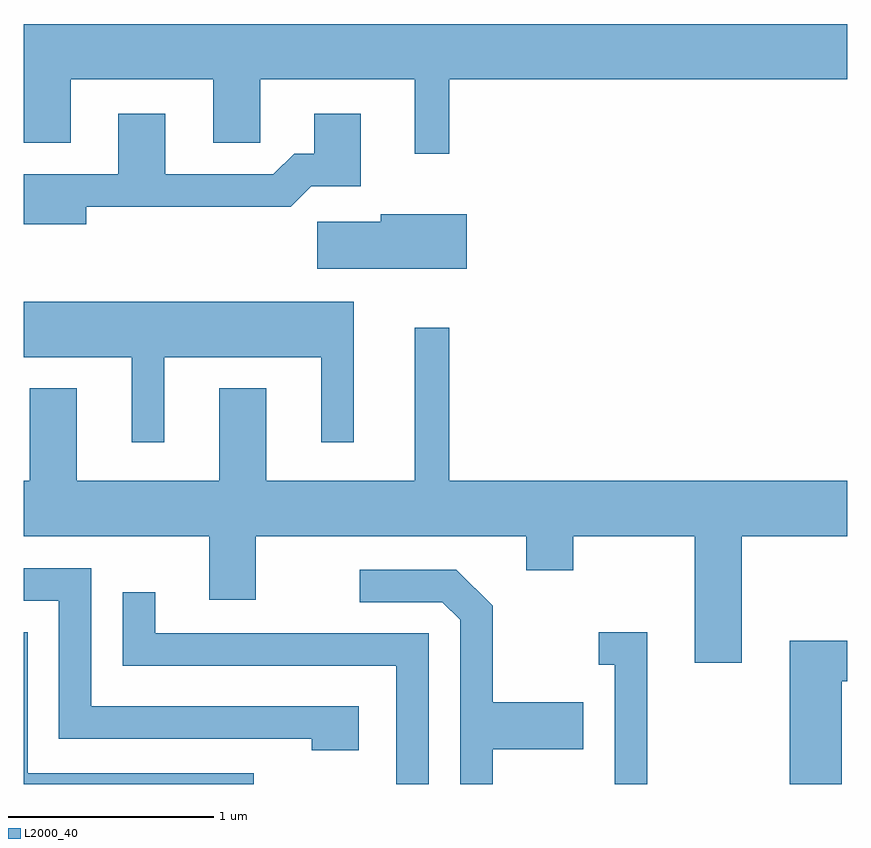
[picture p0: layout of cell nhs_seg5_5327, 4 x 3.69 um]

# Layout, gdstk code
import gdstk
lib = gdstk.Library(unit=1e-6, precision=1e-09)
def P(c, l, *ps):  # polygons
    for p in ps: c.add(gdstk.Polygon(p, *l))
L2000_40 = (2000, 40)

nhs_seg5_5327 = lib.new_cell('nhs_seg5_5327')
P(nhs_seg5_5327, L2000_40, [(345.679,1423.496),(347.611,1423.496),(347.611,1423.764),(343.611,1423.764),(343.611,1423.186),(343.839,1423.186),(343.839,1423.496),(344.531,1423.496),(344.531,1423.186),(344.759,1423.186),(344.759,1423.496),(345.511,1423.496),(345.511,1423.133),(345.679,1423.133)],
  [(343.914,1422.876),(344.907,1422.876),(345.007,1422.976),(345.249,1422.976),(345.249,1423.329),(345.021,1423.329),(345.021,1423.134),(344.924,1423.134),(344.824,1423.034),(344.299,1423.034),(344.299,1423.329),(344.071,1423.329),(344.071,1423.034),(343.611,1423.034),(343.611,1422.791),(343.914,1422.791)],
  [(345.764,1422.839),(345.346,1422.839),(345.346,1422.804),(345.036,1422.804),(345.036,1422.576),(345.764,1422.576)],
  [(344.294,1422.146),(345.056,1422.146),(345.056,1421.733),(345.214,1421.733),(345.214,1422.414),(343.611,1422.414),(343.611,1422.146),(344.136,1422.146),(344.136,1421.733),(344.294,1421.733)],
  [(347.099,1421.276),(347.611,1421.276),(347.611,1421.544),(345.679,1421.544),(345.679,1422.288),(345.511,1422.288),(345.511,1421.544),(344.789,1421.544),(344.789,1421.994),(344.561,1421.994),(344.561,1421.544),(343.869,1421.544),(343.869,1421.994),(343.641,1421.994),(343.641,1421.544),(343.611,1421.544),(343.611,1421.276),(344.511,1421.276),(344.511,1420.966),(344.739,1420.966),(344.739,1421.276),(346.051,1421.276),(346.051,1421.111),(346.279,1421.111),(346.279,1421.276),(346.871,1421.276),(346.871,1420.661),(347.099,1420.661)],
  [(345.239,1420.449),(343.939,1420.449),(343.939,1421.119),(343.611,1421.119),(343.611,1420.961),(343.781,1420.961),(343.781,1420.291),(345.011,1420.291),(345.011,1420.236),(345.239,1420.236)],
  [(345.889,1420.241),(346.329,1420.241),(346.329,1420.469),(345.889,1420.469),(345.889,1420.937),(345.712,1421.114),(345.243,1421.114),(345.243,1420.956),(345.644,1420.956),(345.731,1420.869),(345.731,1420.072),(345.889,1420.072)],
  [(345.579,1420.804),(344.249,1420.804),(344.249,1421.003),(344.091,1421.003),(344.091,1420.646),(345.421,1420.646),(345.421,1420.072),(345.579,1420.072)],
  [(344.728,1420.124),(343.629,1420.124),(343.629,1420.809),(343.611,1420.809),(343.611,1420.072),(344.728,1420.072)],
  [(346.639,1420.809),(346.403,1420.809),(346.403,1420.651),(346.481,1420.651),(346.481,1420.072),(346.639,1420.072)],
  [(347.584,1420.571),(347.611,1420.571),(347.611,1420.769),(347.331,1420.769),(347.331,1420.072),(347.584,1420.072)])

lib.write_gds('nhs_seg5_5327.gds')
